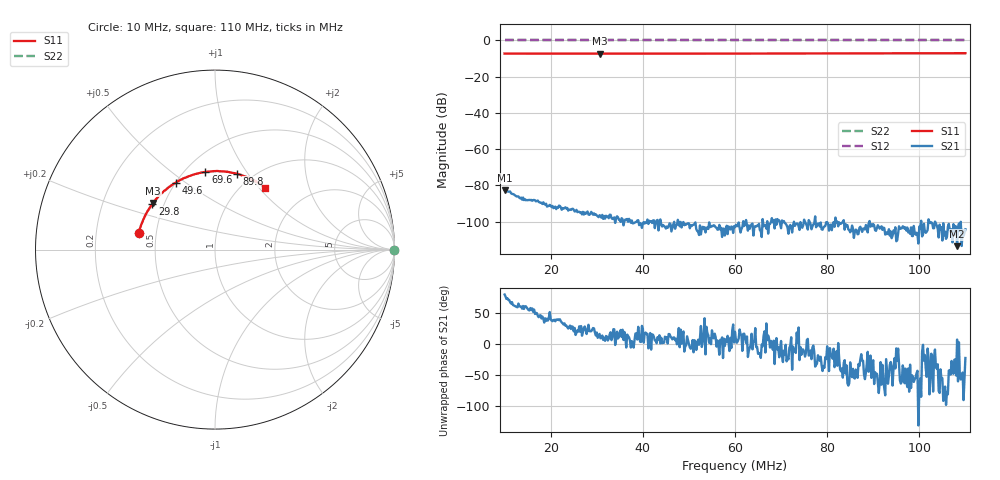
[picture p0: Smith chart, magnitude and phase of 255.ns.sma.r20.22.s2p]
! Anritsu VNA Master:  Model: MS2036C/10/77
! SN:  1601066
! /card0/usr/255.ns.sma.r20.22.s2p
! Existing Calibration Information:
! TYPE:  Current Settings,  Active Cal Settings
! TIME:  12/19/2017 07:15:52 PM,  12/19/2017 06:59:48 PM
! INTERNAL TEMP:  40.0 C,  39.3 C
! # POINTS:  501,  501
! START FREQ:  10.000 MHz,  10.000 MHz
! STOP FREQ:  110.000 MHz,  110.000 MHz
! SOURCE POWER:  High,  High
! IFBW:  100 Hz,  100 Hz
! AVG FACTOR:  1 ,  1
! REF PLANE 1:  0 mm,  0 mm
! REF PLANE 2:  0 mm,  0 mm
! CAL TYPE:  Full S11,  Full S11
! CAL METHOD:  SOLT,  SOLT
! CAL LINE TYPE:  Coax,  Coax
! DUT PORT 1:  N-Conn(F),  N-Conn(F)
! DUT PORT 2:  K-Conn(F),  K-Conn(F)
! CAL STATUS:  OK: Accuracy High,  --
# GHZ S DB R 50.0
! FREQ.GHZ  S11DB  S11A  S21DB  S21A  S12DB  S12A  S22DB  S22A
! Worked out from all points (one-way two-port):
!   501 points, 10 MHz to 110 MHz, reference 50 ohm
!   highest |S21| = -82.54 dB at 10 MHz (marker M1); lowest = -113.5 dB at 108.2 MHz (marker M2)
!   lowest |S11| = -7.3 dB at 30.6 MHz (marker M3), VSWR 2.52, Z = 21.7 + j13.9 ohm
!   |S11| at or under -10 dB: nowhere
!   |S22| runs from 0.0 to 0.0 dB; largest |S21 - S12| = 1
!   S11 on the Smith chart (normalised r, x): 10 MHz: 0.40, +0.09; 29.8 MHz: 0.43, +0.27; 49.6 MHz: 0.50, +0.46; 69.6 MHz: 0.62, +0.67; 89.8 MHz: 0.85, +0.89; 110 MHz: 1.26, +1.08
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0.01  -7.24 167.6  -82.54 79.7  0.00 0.0  0.00 0.0
0.0142  -7.25 162.6  -88.09 56.4  0.00 0.0  0.00 0.0
0.0208  -7.27 154.5  -92.03 38.8  0.00 0.0  0.00 0.0
0.0268  -7.30 147.4  -95.99 13.1  0.00 0.0  0.00 0.0
0.0298  -7.29 143.9  -95.94 13.4  0.00 0.0  0.00 0.0
0.0306  -7.31 142.9  -96.41 16.0  0.00 0.0  0.00 0.0
0.037  -7.27 135.3  -98.43 10.5  0.00 0.0  0.00 0.0
0.0434  -7.29 127.5  -104.82 7.0  0.00 0.0  0.00 0.0
0.0474  -7.26 122.8  -101.82 -0.9  0.00 0.0  0.00 0.0
0.0496  -7.29 120.4  -101.14 12.1  0.00 0.0  0.00 0.0
0.0546  -7.25 114.4  -103.00 8.3  0.00 0.0  0.00 0.0
0.06  -7.26 108.2  -103.07 19.3  0.00 0.0  0.00 0.0
0.0626  -7.22 105.2  -102.17 11.8  0.00 0.0  0.00 0.0
0.0696  -7.20 97.1  -99.28 -21.8  0.00 0.0  0.00 0.0
0.0768  -7.17 88.8  -102.57 -6.0  0.00 0.0  0.00 0.0
0.084  -7.15 80.5  -101.33 -48.2  0.00 0.0  0.00 0.0
0.0898  -7.13 73.9  -102.49 -32.5  0.00 0.0  0.00 0.0
0.0934  -7.13 69.8  -104.17 -51.9  0.00 0.0  0.00 0.0
0.0992  -7.10 63.2  -107.17 -54.6  0.00 0.0  0.00 0.0
0.1034  -7.08 58.5  -99.94 -9.3  0.00 0.0  0.00 0.0
0.1082  -7.06 52.9  -113.51 6.8  0.00 0.0  0.00 0.0
0.11  -7.04 51.0  -104.20 -23.0  0.00 0.0  0.00 0.0
